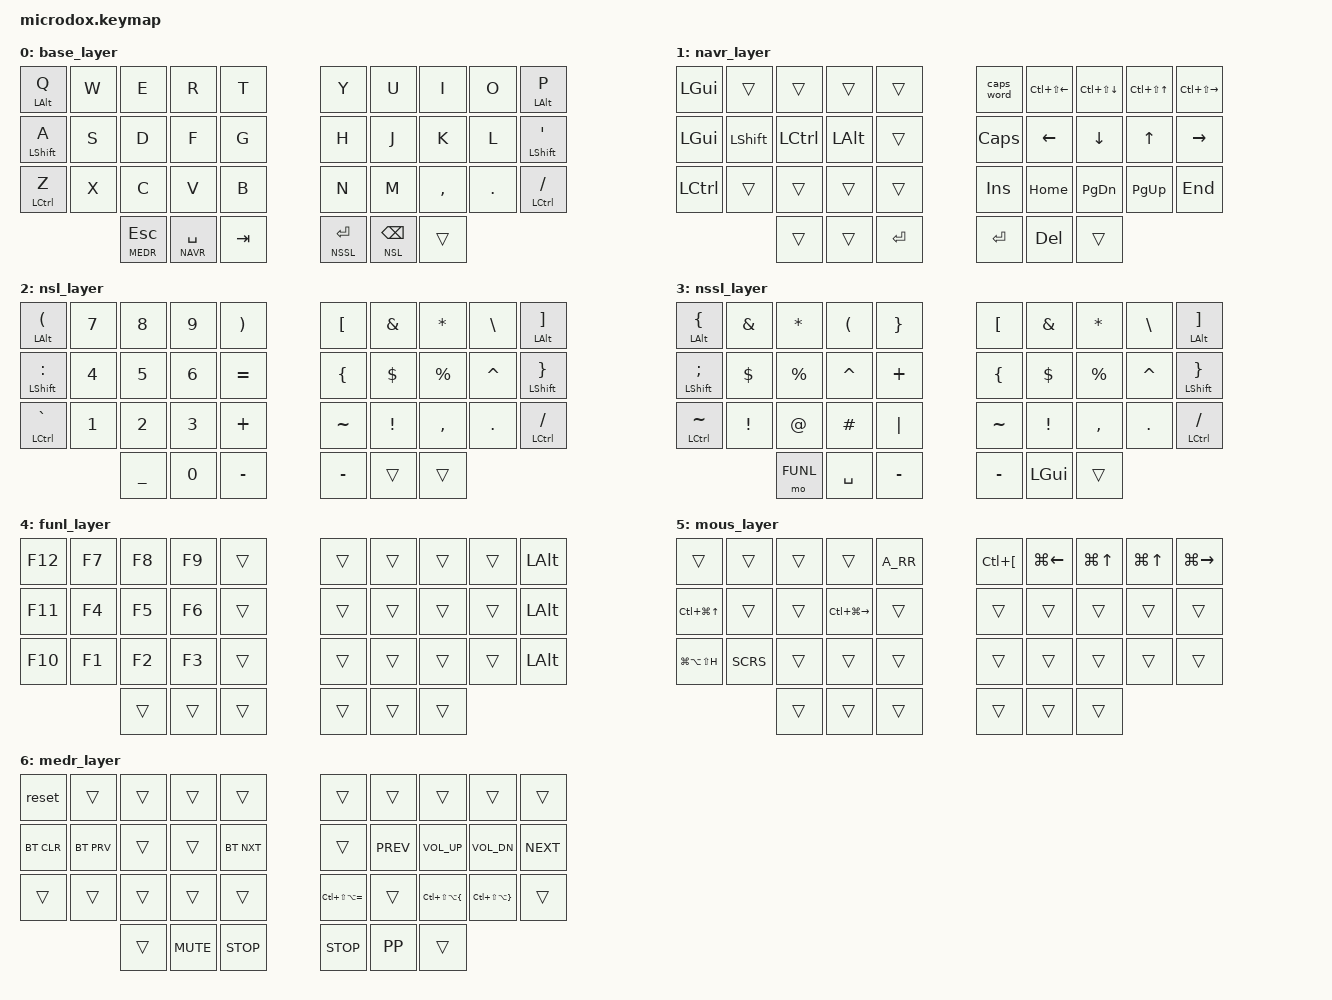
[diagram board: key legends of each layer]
/*
 * Copyright (c) 2020 The ZMK Contributors
 *
 * SPDX-License-Identifier: MIT
 */

#include <behaviors.dtsi>
#include <dt-bindings/zmk/keys.h>
#include <dt-bindings/zmk/bt.h>

#define BASE 0
#define NAVR 1
#define NSL  2
#define NSSL 3
#define FUNL 4
#define MOUS 5
#define MEDR 6

#define A_SFW LG(LA(LS(H))) // Amethyst: Swap Focused Window to Clockwise Screen
#define BCK LC(LBKT) // Navigate Back
#define SL LG(LEFT) // Move a Space Left
#define SR LG(RIGHT) // Move a Space Right
#define MC LG(UP) // Mission Control
#define ST LC(LS(LA(EQL))) // Shade: Toggle On/Off
#define SD LC(LS(LA(LBRC))) // Shade: Brightness Up
#define SU LC(LS(LA(RBRC))) // Shade: Brightness Down
#define THR_R LC(LG(RIGHT)) //Throw the Active Window to the Space to the Right
#define THR_L LC(LG(UP)) //Throw the Active Window to the Space to the Right
#define TAB_L LC(LS(LEFT)) // Switch to the Tab to the Left
#define TAB_R LC(LS(RIGHT)) // Switch to the Tab to the Right
#define TAB_U LC(LS(UP)) // Switch to the Tab Above
#define TAB_D LC(LS(DOWN)) // Switch to the Tab Below

&mt {
    tapping-term-ms = <160>;
};

/ {

        behaviors {
                A_RR: tap_dance_0 {
                    compatible = "zmk,behavior-tap-dance";
                    label = "A_RR";
                    #binding-cells = <0>;
                    tapping-term-ms = <200>;
                    bindings = <&kp LC(LS(LA(Z)))>, <&kp LC(LS(LA(X)))>; // Amethyst: Reset Amethyst (One Tap) or Reset Auto Rais (Two Taps)
                };

                SCRS: tap_dance_1 {
                    compatible = "zmk,behavior-tap-dance";
                    label = "SCRS";
                    #binding-cells = <0>;
                    tapping-term-ms = <200>;
                    bindings = <&kp LG(LS(S))>, <&kp LC(LS(N4))>;  // Screenshot to Clipboard (One Tap) or to Desktop (Two Taps)               
                };
                umla: umlaut_a {
                    compatible = "zmk,behavior-mod-morph";
                    label = "UMLAUT_A";
                    #binding-cells = <0>;
                    bindings = <&kp A>, <&kp B>;
                    mods = <(MOD_LALT)>;
                };
        };

        keymap {
                compatible = "zmk,keymap";

                base_layer {
                        bindings = <
   &mt LALT Q  &kp W &kp E &kp R &kp T          &kp Y &kp U  &kp I     &kp O   &mt LALT P
   &mt LSHFT A &kp S &kp D &kp F &kp G          &kp H &kp J  &kp K     &kp L   &mt LSHFT SQT
   &mt LCTRL Z &kp X &kp C &kp V &kp B          &kp N &kp M  &kp COMMA &kp DOT &mt LCTRL FSLH
   &lt MEDR ESC &lt NAVR SPACE &kp TAB          &lt NSSL ENTER &lt NSL BSPC &trans
                        >;
                };

                navr_layer {
                        bindings = <
   &kp LGUI  &trans    &trans    &trans   &trans      &caps_word &kp TAB_L &kp TAB_D &kp TAB_U &kp TAB_R
   &kp LGUI  &kp LSHFT &kp LCTRL &kp LALT &trans      &kp CLCK   &kp LEFT  &kp DOWN  &kp UP    &kp RIGHT
   &kp LCTRL &trans    &trans    &trans   &trans      &kp INS    &kp HOME  &kp PG_DN &kp PG_UP &kp END
                       &trans    &trans   &kp ENTER   &kp ENTER  &kp DEL   &trans
                        >;
                };

                nsl_layer {
                        bindings = <
   &mt LALT LPRN   &kp N7 &kp N8    &kp N9 &kp RPRN       &kp LBKT  &kp AMPS &kp ASTRK &kp BSLH  &mt LALT RBKT
   &mt LSHFT COLON &kp N4 &kp N5    &kp N6 &kp EQUAL      &kp LBRC  &kp DLLR &kp PRCNT &kp CARET &mt LSHFT RBRC 
   &mt LCTRL GRAVE &kp N1 &kp N2    &kp N3 &kp PLUS       &kp TILDE &kp EXCL &kp COMMA &kp DOT   &mt LCTRL SLASH
                          &kp UNDER &kp N0 &kp MINUS      &kp MINUS &trans   &trans
                        >;
                };

                nssl_layer {
                        bindings = <
   &mt LALT LBRC   &kp AMPS &kp ASTRK &kp LPAR  &kp RBRC     &kp LBKT  &kp AMPS &kp ASTRK &kp BSLH  &mt LALT RBKT
   &mt LSHFT SEMI  &kp DLLR &kp PRCNT &kp CARET &kp PLUS     &kp LBRC  &kp DLLR &kp PRCNT &kp CARET &mt LSHFT RBRC 
   &mt LCTRL TILDE &kp EXCL &kp AT    &kp HASH  &kp PIPE     &kp TILDE &kp EXCL &kp COMMA &kp DOT   &mt LCTRL SLASH
                            &mo FUNL  &kp SPACE &kp MINUS    &kp MINUS &kp LGUI &trans
                        >;
                };
                
                funl_layer {
                        bindings = <
   &kp F12 &kp F7 &kp F8 &kp F9 &trans     &trans &trans &trans &trans &kp LALT
   &kp F11 &kp F4 &kp F5 &kp F6 &trans     &trans &trans &trans &trans &kp LALT
   &kp F10 &kp F1 &kp F2 &kp F3 &trans     &trans &trans &trans &trans &kp LALT
                  &trans &trans &trans     &trans &trans &trans
                        >;
                };

                mous_layer {
                        bindings = <
   &trans    &trans   &trans &trans    &A_RR        &kp BCK &kp SL &kp MC &kp MC &kp SR
   &kp THR_L &trans   &trans &kp THR_R &trans       &trans  &trans &trans &trans &trans
   &kp A_SFW &SCRS    &trans &trans    &trans       &trans  &trans &trans &trans &trans
                      &trans &trans    &trans       &trans  &trans &trans
                        >;
                };

                medr_layer {
                        bindings = <
   &reset     &trans     &trans &trans &trans        &trans &trans     &trans       &trans       &trans
   &bt BT_CLR &bt BT_PRV &trans &trans &bt BT_NXT    &trans &kp K_PREV &kp K_VOL_UP &kp K_VOL_DN &kp K_NEXT
   &trans     &trans     &trans &trans &trans        &kp ST &trans     &kp SD       &kp SU       &trans
         &trans &kp K_MUTE &kp K_STOP      &kp K_STOP &kp K_PP &trans
                        >;
                };
        };
};
